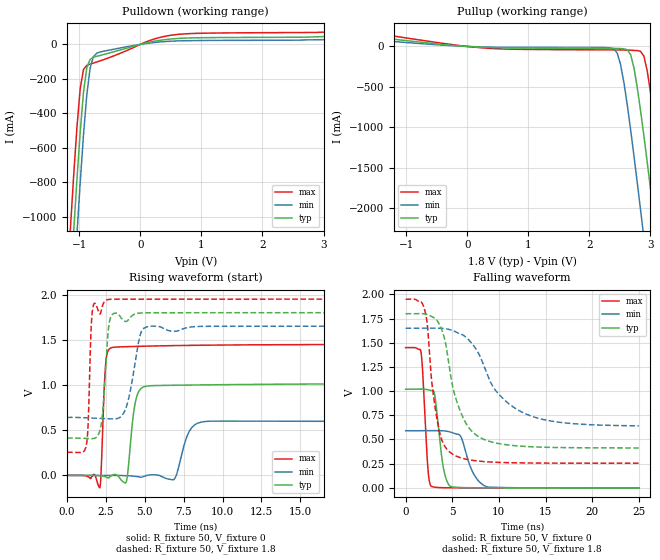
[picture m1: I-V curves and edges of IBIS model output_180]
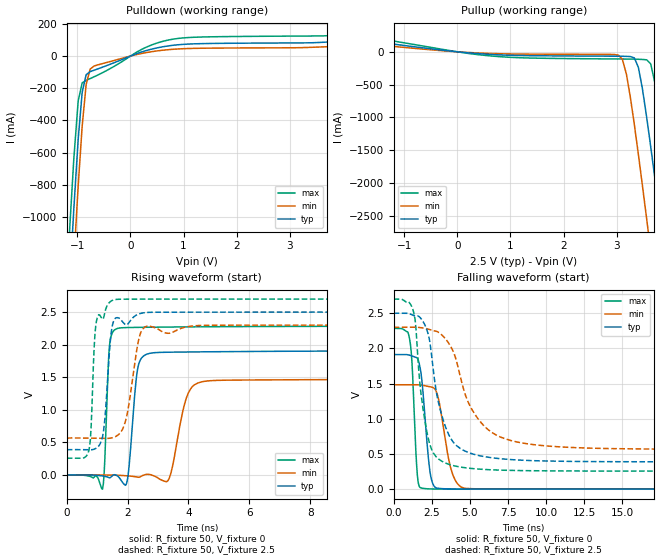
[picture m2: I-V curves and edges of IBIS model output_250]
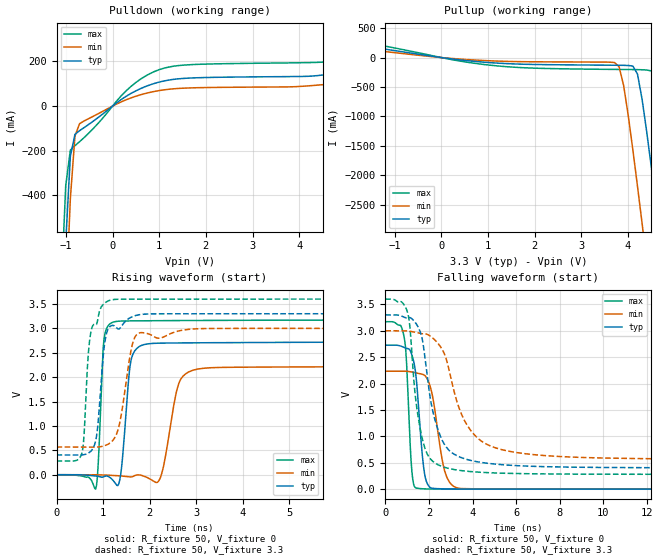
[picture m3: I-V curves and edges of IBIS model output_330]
|   |   NC7WZ14P6X
|   |   TinyLogic UHS Dual Inverter with Schmitt Trigger Inputs
|   |   6-Lead SC70, EIAJ SC-88a, 1.25mm Wide
[IBIS Ver]   4.2
[Comment Char]   |_char
[File name]   nc7wz14p6x.ibs
[File Rev]   2.0
[Date]   11/09/2013
[Source]   SPICE to IBIS Translation
[Notes]
Created by David Liu
  Characterization Engineer
[Disclaimer]
Fairchild Semiconductor Corporation hereby grants the user of this IBIS model
a non-exclusive, nontransferable license to use this IBIS model under the
following terms. Before using this IBIS model, the user should read this
license. If the user does not accept these terms, the IBIS model should be
returned to Fairchild within 30 days.  The user is granted this license
only to use the IBIS model and is not granted rights to sell, load, rent,
lease or license the IBIS model in whole or in part, or in modified form
to anyone other than user. User may modify the IBIS model to suit its
specific applications but rights to derivative works and such modifications
shall belong to Fairchild.  This IBIS model is provided on an "AS IS" basis
and Fairchild makes absolutely no warranty with respect to the information
contained herein. Fairchild DISCLAIMS AND CUSTOMER WAIVES ALL WARRANTIES,
EXPRESS OR IMPLIED, INCLUDING WARRANTIES OF MERCHANTABILITY OR FITNESS FOR
A PARTICULAR PURPOSE. The entire risk as to quality and performance is with
the Customer. ACCORDINGLY, IN NO EVENT SHALL THE COMPANY BE LIABLE FOR ANY
DAMAGES, WHETHER IN CONTRACT OR TORT, INCLUDING ANY LOST PROFITS OR OTHER
INCIDENTAL, CONSEQUENTIAL, EXEMPLARY, OR PUNITIVE DAMAGES ARISING OUT OF
THE USE OR APPLICATION OF THE IBIS model provided in this package. Further,
Fairchild reserves the right to make changes without notice to any product
herein to improve reliability, function, or design. Fairchild does not
convey any license under patent rights or any other intellectual property
rights, including those of third parties.  Fairchild is not obligated to
provide maintenance or support for the licensed IBIS model.
Cont: Fairchild at ATTN:LOGIC APPLICATIONS/IBIS MODEF.
333 Western Avenue, M/S 10-26, South Portland, ME 04106
IBIS Open Forum disclaims all warranties. See DISCLAIM.TXT in
vhdl.org:/pub/IBIS/modeF for the full disclaimer.
[Copyright]
(c) Copyright 2013 Fairchild Semiconductor Corp
[Component]   nc7wz14p6x
Si_location   Pin
Timing_location   Pin
[Manufacturer]   fairchild semiconductor
[Package]
R_pkg   30m   30m   32m
L_pkg   0.91n   0.90n   1.01n
C_pkg   0.13p   0.13p   0.13p
[Pin] signal_name   model_name   R_pin   L_pin   C_pin
1   A1   input   32m   1.01n   0.13p
2   GND   GND   30m   0.90n   0.13p
3   A2   input   32m   0.91n   0.13p
4   Y2   output   32m   0.91n   0.13p
5   VCC   POWER   30m   0.90n   0.13p
6   Y1   output   32m   1.01n   0.13p
[model selector]  input
input_180   Vcc ranges from 1.65V to  1.95V
input_250   Vcc ranges from 2.3V  to  2.7V
input_330   Vcc ranges from 3V   to  3.6V
input_500   Vcc ranges from 4.5V  to  5.5V
[model selector]  output
output_180   Vcc ranges from 1.65V to  1.95V
output_250   Vcc ranges from 2.3V  to  2.7V
output_330   Vcc ranges from 3V   to  3.6V
output_500   Vcc ranges from 4.5V  to  5.5V
| Models and submodels in the file (8): output_180 (Output), output_250 (Output), output_330 (Output), output_500 (Output), input_180 (Input), input_250 (Input), input_330 (Input), input_500 (Input)
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[Model] output_180
Model_type Output
Vmeas = 0.9V
Cref = 50.0pF
Rref = 500.0
Vref = 1.8V
C_comp   2.78pF   2.1pF   3.7pF
[Model Spec]
Vmeas   0.9V   0.825V   0.975V
[Voltage Range]   1.8V   1.65V   1.95V
[Temperature Range]   25.0   85.0   -40.0
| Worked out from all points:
|   slope of the pulldown table from 0 to 0.27 V, typ, clamps not added: 13.1 ohm
|   slope of the pullup table from 0 to 0.27 V, typ, clamps not added: 24.1 ohm
|   rising waveform, R_fixture 50, V_fixture 0: 20-80 % time 392ps typ, 612ps min, 203ps max; typ from 0 V to 1.02 V
|   falling waveform, R_fixture 50, V_fixture 0: 20-80 % time 741ps typ, 1.31ns min, 469ps max; typ from 1.02 V to 0 V
|   rising waveform, R_fixture 50, V_fixture 1.8: 20-80 % time 325ps typ, 622ps min, 181ps max; typ from 0.412 V to 1.8 V
|   falling waveform, R_fixture 50, V_fixture 1.8: 20-80 % time 2.12ns typ, 3.98ns min, 1.19ns max; typ from 1.8 V to 0.413 V
[Pullup]
-1.8V     144.8mA    97.49mA    200.1mA
273.6mV   -11.31mA   -6.719mA   -18.99mA
2.401V    -24.64mA   -30.48mA   -43.05mA
2.509V    -26.83mA   -216.7mA   -43.61mA
2.677V    -103.5mA   -1.035A    -47.17mA
2.839V    -794.8mA   -2.021A    -60.14mA
2.893V    -1.103A    -2.364A    -118.7mA
2.947V    -1.425A    -2.712A    -300mA
3.055V    -2.092A    -3.416A    -865.1mA
3.114V    -2.467A    -3.808A    -1.216A
3.276V    -3.508A    -4.886A    -2.223A
3.6V      -5.631A    -7.071A    -4.313A
[Pulldown]
-1.8V     -5.608A    -6.049A    -5.246A
-1.147V   -1.409A    -1.754A    -1.075A
-1.093V   -1.09A     -1.424A    -765.5mA
-1.039V   -785.5mA   -1.104A    -481.8mA
-984.6mV  -506.7mA   -800.1mA   -255.8mA
-930.6mV  -276.5mA   -523.1mA   -144.7mA
-876.6mV  -135mA     -292.1mA   -121.5mA
-822.6mV  -86.96mA   -137.8mA   -114.5mA
-768.6mV  -75.06mA   -70.76mA   -108.5mA
-709.2mV  -68.84mA   -50.24mA   -101.8mA
543.6mV   32.34mA    18.99mA    54.84mA
3.6V      47.59mA    25.27mA    81.54mA
[Rising Waveform]
R_fixture=50
V_fixture=0
V_fixture_min=0
V_fixture_max=0
0s        0V         0V         0V
2.1ns     -4.511mV   68.43uV    -138.2mV
2.475ns   -16.03mV   74.27uV    1.216V
2.85ns    -2.386mV   38.02uV    1.412V
3.8ns     -74.11mV   -3.274mV   1.424V
4.4ns     816.6mV    -10.67mV   1.427V
5.025ns   984.5mV    -5.063mV   1.43V
6.875ns   997.2mV    -45.17mV   1.436V
8.8ns     1.001V     594.5mV    1.44V
25ns      1.016V     595.3mV    1.449V
[Falling Waveform]
R_fixture=50
V_fixture=0
V_fixture_min=0
V_fixture_max=0
0s        1.02V      590.7mV    1.45V
1.65ns    1.021V     590.7mV    1.402V
2.375ns   1.014V     591.5mV    217.7mV
2.75ns    1.006V     591.6mV    15.38mV
3.175ns   927.5mV    591.6mV    6.252mV
4.125ns   170.1mV    589.1mV    1.28mV
4.875ns   12.02mV    574.5mV    613.1uV
5.85ns    3.487mV    539.5mV    348.5uV
8.8ns     283.6uV    9.523mV    103uV
25ns      1.898uV    -19.1uV    2.02uV
[Rising Waveform]
R_fixture=50
V_fixture=1.8
V_fixture_min=1.65
V_fixture_max=1.95
0s        412.2mV    637.9mV    254.8mV
1.25ns    408.3mV    637mV      347mV
1.575ns   406.2mV    634.6mV    1.721V
1.775ns   410.6mV    633mV      1.904V
2.2ns     566.1mV    629.3mV    1.823V
2.675ns   1.642V     624.9mV    1.946V
3.025ns   1.793V     623.4mV    1.949V
3.8ns     1.702V     751.2mV    1.949V
5.2ns     1.799V     1.646V     1.949V
25ns      1.8V       1.65V      1.95V
[Falling Waveform]
R_fixture=50
V_fixture=1.8
V_fixture_min=1.65
V_fixture_max=1.95
0s        1.8V       1.65V      1.95V
2.025ns   1.798V     1.65V      1.846V
3.4ns     1.727V     1.65V      687.7mV
4.2ns     1.532V     1.646V     428.8mV
4.95ns    1.095V     1.629V     353.2mV
6.5ns     662.5mV    1.554V     295.8mV
8.625ns   491.8mV    1.204V     269.7mV
10.38ns   451.2mV    929.4mV    261.7mV
13.51ns   424.5mV    740.2mV    256.6mV
25ns      412.5mV    641.1mV    254.8mV
[Ramp]
R_load = 50
dV/dt_r   6.097345E-1/3.75E-10   3.571716E-1/6.25E-10   8.694671E-1/2E-10
dV/dt_f   8.32492E-1/2.125E-9   6.053182E-1/3.975E-9   1.017104E0/1.175E-9
[Model] output_250
Model_type Output
Vmeas = 1.25V
Cref = 50.0pF
Rref = 500.0
Vref = 2.5V
C_comp   2.88pF   2.2pF   4.25pF
[Model Spec]
Vmeas   1.25V   1.15V   1.35V
[Voltage Range]   2.5V   2.3V   2.7V
[Temperature Range]   25.0   85.0   -40.0
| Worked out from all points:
|   slope of the pulldown table from 0 to 0.375 V, typ, clamps not added: 9.12 ohm
|   slope of the pullup table from 0 to 0.375 V, typ, clamps not added: 14 ohm
|   rising waveform, R_fixture 50, V_fixture 0: 20-80 % time 204ps typ, 389ps min, 111ps max; typ from 0 V to 1.91 V
|   falling waveform, R_fixture 50, V_fixture 0: 20-80 % time 447ps typ, 717ps min, 281ps max; typ from 1.91 V to 0 V
|   rising waveform, R_fixture 50, V_fixture 2.5: 20-80 % time 195ps typ, 338ps min, 136ps max; typ from 0.388 V to 2.5 V
|   falling waveform, R_fixture 50, V_fixture 2.5: 20-80 % time 1.15ns typ, 1.95ns min, 756ps max; typ from 2.5 V to 0.388 V
[Pullup]
-2.5V     249.3mA    172.7mA    340mA
537.5mV   -35.77mA   -22.52mA   -56.06mA
3.035V    -67.25mA   -50.76mA   -109.2mA
3.185V    -69.69mA   -341mA     -109.9mA
3.335V    -93.35mA   -1.113A    -111.7mA
3.41V     -235.7mA   -1.562A    -113.8mA
3.567V    -1.002A    -2.554A    -122.2mA
3.643V    -1.444A    -3.04A     -183.9mA
3.717V    -1.905A    -3.532A    -458.7mA
3.868V    -2.853A    -4.526A    -1.299A
4.093V    -4.312A    -6.036A    -2.708A
5V        -10.34A    -12.23A    -8.659A
[Pulldown]
-2.5V     -10.27A    -10.81A    -9.872A
-1.143V   -1.388A    -1.731A    -1.057A
-1.067V   -950.8mA   -1.276A    -638mA
-985mV    -516.6mA   -806.5mA   -278mA
-910mV    -225.4mA   -434.8mA   -166.5mA
-835mV    -115.8mA   -176.6mA   -150.7mA
-760mV    -96.82mA   -81.02mA   -139.9mA
-685mV    -87.71mA   -61.88mA   -128.7mA
297.5mV   34.21mA    21.53mA    55.08mA
830mV     67.95mA    42.75mA    106.4mA
3.71V     87.15mA    57.99mA    126.4mA
5V        95.33mA    56.38mA    165.9mA
[Rising Waveform]
R_fixture=50
V_fixture=0
V_fixture_min=0
V_fixture_max=0
0s        0V         0V         0V
1.175ns   -15.58mV   101.1uV    -218.4mV
1.4ns     -43.25mV   -964.8uV   1.967V
1.7ns     -29.89mV   -5.285mV   2.253V
1.975ns   -112.7mV   -12.84mV   2.263V
2.325ns   1.616V     -33.61mV   2.265V
2.75ns    1.869V     4.292mV    2.268V
3.35ns    1.884V     -67.49mV   2.271V
4.55ns    1.89V      1.439V     2.275V
25ns      1.912V     1.48V      2.284V
[Falling Waveform]
R_fixture=50
V_fixture=0
V_fixture_min=0
V_fixture_max=0
0s        1.912V     1.483V     2.284V
1.05ns    1.903V     1.484V     2.127V
1.2ns     1.892V     1.484V     1.806V
1.525ns   1.866V     1.484V     278.5mV
1.775ns   1.673V     1.479V     19.48mV
2.35ns    299.6mV    1.456V     3.735mV
2.8ns     16.71mV    1.383V     1.775mV
3.725ns   3.07mV     312.7mV    841.4uV
4.55ns    1.252mV    18.32mV    542.9uV
25ns      3.978uV    8.88uV     0V
[Rising Waveform]
R_fixture=50
V_fixture=2.5
V_fixture_min=2.3
V_fixture_max=2.7
0s        388.3mV    565.7mV    256.9mV
725ps     385.5mV    564.8mV    373.8mV
950ps     405.8mV    562.8mV    2.28V
1.15ns    539.4mV    561mV      2.406V
1.45ns    2.142V     566.3mV    2.667V
1.575ns   2.394V     582.6mV    2.691V
1.925ns   2.309V     817.6mV    2.698V
2.375ns   2.473V     2.098V     2.699V
2.65ns    2.495V     2.284V     2.699V
25ns      2.5V       2.3V       2.7V
[Falling Waveform]
R_fixture=50
V_fixture=2.5
V_fixture_min=2.3
V_fixture_max=2.7
0s        2.5V       2.3V       2.7V
1.325ns   2.466V     2.301V     2.501V
1.45ns    2.457V     2.3V       2.314V
1.725ns   2.441V     2.296V     1.487V
2.075ns   2.32V      2.284V     934.5mV
2.6ns     1.687V     2.252V     514.7mV
3.35ns    915.1mV    2.147V     375mV
5.15ns    501.7mV    1.125V     292.5mV
7.25ns    427.3mV    719.2mV    268.6mV
25ns      388.3mV    566.1mV    256.9mV
[Ramp]
R_load = 50
dV/dt_r   1.14704E0/2E-10   8.878656E-1/4E-10   1.370439E0/1.25E-10
dV/dt_f   1.267007E0/1.15E-9   1.040354E0/1.95E-9   1.465844E0/7.5E-10
[Model] output_330
Model_type Output
Vmeas = 1.65V
Cref = 50.0pF
Rref = 500.0
Vref = 3.3V
C_comp   3.28pF   1.4pF   5.85pF
[Model Spec]
Vmeas   1.65V   1.5V   1.8V
[Voltage Range]   3.3V   3.0V   3.6V
[Temperature Range]   25.0   85.0   -40.0
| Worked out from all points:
|   slope of the pulldown table from 0 to 0.495 V, typ, clamps not added: 7.28 ohm
|   slope of the pullup table from 0 to 0.495 V, typ, clamps not added: 10.3 ohm
|   rising waveform, R_fixture 50, V_fixture 0: 20-80 % time 138ps typ, 246ps min, 82.3ps max; typ from 0 V to 2.73 V
|   falling waveform, R_fixture 50, V_fixture 0: 20-80 % time 325ps typ, 508ps min, 214ps max; typ from 2.73 V to 0 V
|   rising waveform, R_fixture 50, V_fixture 3.3: 20-80 % time 154ps typ, 238ps min, 141ps max; typ from 0.404 V to 3.3 V
|   falling waveform, R_fixture 50, V_fixture 3.3: 20-80 % time 802ps typ, 1.27ns min, 546ps max; typ from 3.3 V to 0.405 V
[Pullup]
-3.3V     366.8mA    273.7mA    480.8mA
907.5mV   -78.38mA   -50.57mA   -117.6mA
3.709V    -130.8mA   -84.47mA   -201.8mA
3.808V    -131.5mA   -153.7mA   -202.4mA
3.907V    -132.7mA   -476.9mA   -203.1mA
4.204V    -282.5mA   -2.191A    -205.5mA
4.303V    -713.3mA   -2.826A    -208mA
4.501V    -1.869A    -4.127A    -227.4mA
4.6V      -2.49A     -4.787A    -473.7mA
4.709V    -3.186A    -5.517A    -1.048A
5.006V    -5.124A    -7.525A    -2.89A
6.6V      -15.78A    -18.47A    -13.41A
[Pulldown]
-3.3V     -15.64A    -16.32A    -15.2A
-1.102V   -1.154A    -1.486A    -832.7mA
-1.003V   -612.5mA   -909.7mA   -357.6mA
-904.2mV  -225.7mA   -416.3mA   -197.6mA
-805.2mV  -126.5mA   -134.1mA   -177.4mA
-706.2mV  -109.9mA   -78.78mA   -159.5mA
491.7mV   67.6mA     43.69mA    104.5mA
897.6mV   101.7mA    65.76mA    155mA
1.393V    121.9mA    78.9mA     181.1mA
4.798V    147.7mA    101.5mA    205.1mA
5.699V    180.7mA    113.7mA    262.3mA
6.6V      195.9mA    120.3mA    352.7mA
[Rising Waveform]
R_fixture=50
V_fixture=0
V_fixture_min=0
V_fixture_max=0
0s        0V         0V         0V
840ps     -26.28mV   -1.295mV   -296mV
1.02ns    -40.04mV   -5.886mV   2.771V
1.28ns    -197.5mV   -18.21mV   3.141V
1.6ns     2.338V     -44.9mV    3.153V
1.94ns    2.678V     -52.8mV    3.156V
2.24ns    2.697V     -42.67mV   3.157V
2.66ns    2.701V     1.938V     3.16V
3.12ns    2.704V     2.178V     3.162V
20ns      2.727V     2.232V     3.172V
[Falling Waveform]
R_fixture=50
V_fixture=0
V_fixture_min=0
V_fixture_max=0
0s        2.727V     2.235V     3.172V
860ps     2.682V     2.235V     2.887V
960ps     2.669V     2.233V     2.499V
1.2ns     2.566V     2.221V     433mV
1.4ns     2.17V      2.203V     23.66mV
1.76ns    406.2mV    2.167V     6.322mV
2.12ns    21.7mV     1.85V      2.907mV
2.72ns    4.836mV    348.1mV    1.524mV
3.3ns     2.211mV    22.63mV    1.046mV
20ns      5.027uV    21.28uV    0V
[Rising Waveform]
R_fixture=50
V_fixture=3.3
V_fixture_min=3
V_fixture_max=3.6
0s        404.4mV    567.1mV    281.1mV
540ps     404.1mV    566mV      426.8mV
700ps     452.4mV    564.3mV    2.655V
800ps     571.4mV    563.8mV    3.078V
1.04ns    2.729V     596.5mV    3.52V
1.18ns    3.055V     675.6mV    3.584V
1.36ns    2.998V     1.067V     3.597V
1.64ns    3.243V     2.703V     3.598V
1.8ns     3.282V     2.911V     3.598V
20ns      3.3V       3V         3.6V
[Falling Waveform]
R_fixture=50
V_fixture=3.3
V_fixture_min=3
V_fixture_max=3.6
0s        3.3V       3V         3.6V
1.02ns    3.243V     2.996V     3.345V
1.36ns    3.165V     2.972V     1.826V
1.54ns    3.042V     2.954V     1.283V
1.92ns    2.139V     2.933V     666.1mV
2.2ns     1.438V     2.854V     519.3mV
2.62ns    916.7mV    2.638V     426.3mV
3.68ns    569.7mV    1.263V     342.2mV
5.26ns    466mV      756.6mV    303.8mV
20ns      404.5mV    567.7mV    281.1mV
[Ramp]
R_load = 50
dV/dt_r   1.635936E0/1.4E-10   1.338995E0/2.6E-10   1.903288E0/8E-11
dV/dt_f   1.737296E0/8E-10   1.459386E0/1.28E-9   1.99135E0/5.6E-10
